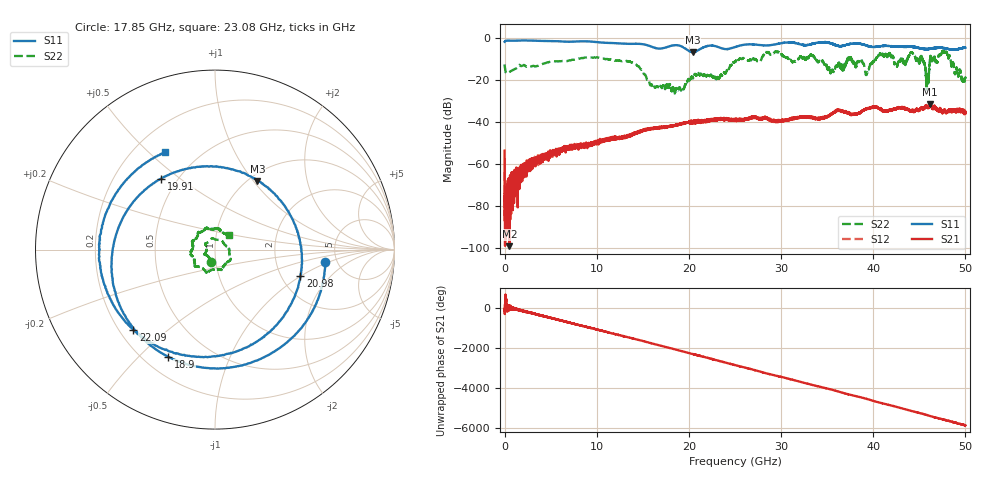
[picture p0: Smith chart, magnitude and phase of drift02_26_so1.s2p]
!Created with skrf (http://scikit-rf.org).
# Hz S RI R 50.0
!freq ReS11 ImS11 ReS21 ImS21 ReS12 ImS12 ReS22 ImS22
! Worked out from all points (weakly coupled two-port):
!   10001 points, 300 kHz to 50 GHz, reference 50 ohm
!   highest |S21| = -31.67 dB at 46.19 GHz (marker M1); lowest = -99.2 dB at 520.3 MHz (marker M2)
!   lowest |S11| = -6.9 dB at 20.41 GHz (marker M3), VSWR 2.64, Z = 54.6 + j52.5 ohm
!   |S11| at or under -10 dB: nowhere
!   |S22| runs from -26.8 to -6.3 dB; largest |S21 - S12| = 0.0036
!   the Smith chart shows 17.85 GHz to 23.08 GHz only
!   S11 on the Smith chart (normalised r, x): 17.85 GHz: 4.02, -0.90; 18.9 GHz: 0.30, -0.62; 19.91 GHz: 0.41, +0.43; 20.98 GHz: 2.53, -1.01; 22.09 GHz: 0.26, -0.39; 23.08 GHz: 0.32, +0.56
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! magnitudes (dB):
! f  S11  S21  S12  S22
! 300 kHz  -2.0  -53.8  -64.0  -12.7
! 255.3 MHz  -1.4  -74.0  -73.8  -17.0
! 520.3 MHz  -1.4  -99.2  -76.1  -16.4
! 3.1 GHz  -1.4  -59.1  -60.3  -13.4
! 8.335 GHz  -1.7  -51.6  -50.7  -9.7
! 13.7 GHz  -2.9  -46.2  -46.5  -11.7
! 16.67 GHz  -5.2  -42.9  -42.9  -23.5
! 17.85 GHz  -4.2  -42.1  -42.2  -23.1
! 18.9 GHz  -3.7  -41.3  -41.4  -24.1
! 19.91 GHz  -6.1  -40.4  -40.3  -19.8
! 20.41 GHz  -6.9  -40.3  -40.0  -19.0
! 20.98 GHz  -6.0  -40.2  -40.1  -16.7
! 22.09 GHz  -3.9  -39.4  -39.4  -17.8
! 23.08 GHz  -4.3  -38.8  -38.9  -19.1
! 25 GHz  -4.5  -39.5  -39.2  -11.5
! 33.34 GHz  -3.0  -37.6  -38.0  -8.4
! 39.32 GHz  -3.8  -33.8  -33.8  -17.1
! 41.67 GHz  -4.0  -34.6  -34.8  -7.8
! 45.84 GHz  -5.4  -33.1  -32.9  -21.5
! 46.19 GHz  -5.3  -31.7  -32.2  -9.4
! 47.76 GHz  -5.0  -34.6  -34.5  -6.7
! 50 GHz  -4.7  -35.3  -35.7  -19.6
